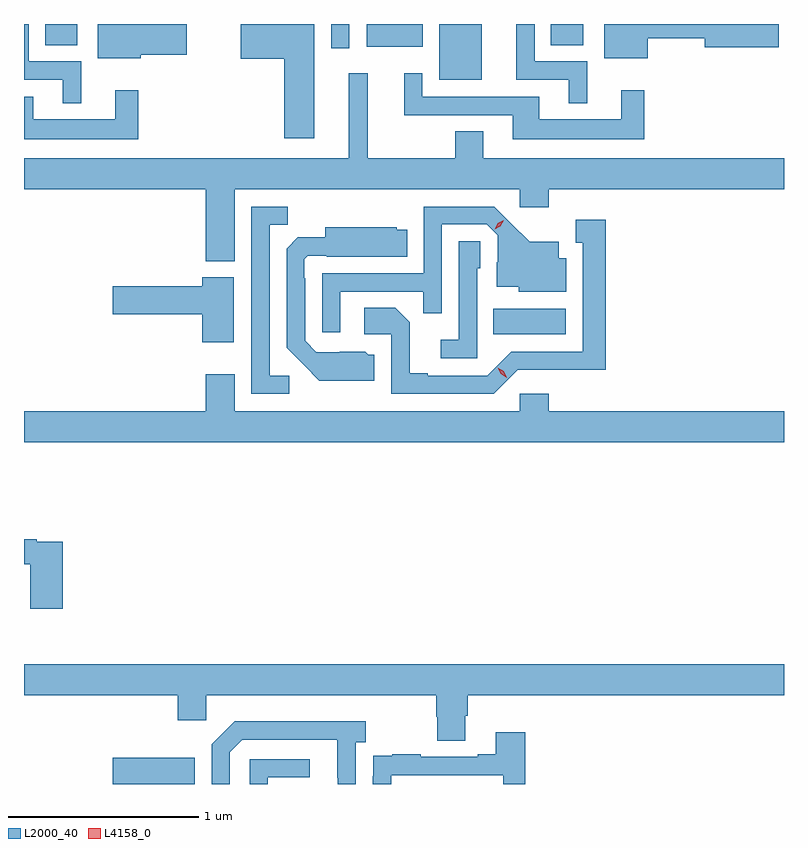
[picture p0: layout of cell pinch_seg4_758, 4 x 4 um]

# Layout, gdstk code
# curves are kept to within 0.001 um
import gdstk
lib = gdstk.Library(unit=1e-6, precision=1e-09)
def R(c, l, rs):  # rectangles x0, y0, x1, y1
    for r in rs: c.add(gdstk.rectangle(r[:2], r[2:], *l))
def P(c, l, *ps):  # polygons
    for p in ps: c.add(gdstk.Polygon(p, *l))
L2000_40 = (2000, 40)
L4158_0 = (4158, 0)

pinch_seg4_758 = lib.new_cell('pinch_seg4_758')
R(pinch_seg4_758, L2000_40, [(782.274,812.338,782.704,812.475), (784.276,814.706,784.657,814.84), (783.992,816.044,784.216,816.338), (783.423,816.21,783.519,816.338), (783.611,816.218,783.904,816.338), (781.919,816.226,782.086,816.338), (784.579,816.226,784.75,816.338)])
P(pinch_seg4_758, L2000_40, [(784.771,816.141),(784.494,816.141),(784.494,816.338),(784.397,816.338),(784.397,816.045),(784.673,816.045),(784.673,815.921),(784.771,815.921)],
  [(782.421,816.176),(782.662,816.176),(782.662,816.338),(782.195,816.338),(782.195,816.158),(782.421,816.158)],
  [(785.089,816.262),(785.39,816.262),(785.39,816.215),(785.779,816.215),(785.779,816.338),(784.859,816.338),(784.859,816.158),(785.089,816.158)],
  [(782.107,816.141),(781.83,816.141),(781.83,816.338),(781.806,816.338),(781.806,816.045),(782.009,816.045),(782.009,815.921),(782.107,815.921)],
  [(783.334,816.338),(782.948,816.338),(782.948,816.155),(783.176,816.155),(783.176,815.736),(783.334,815.736)],
  [(782.914,815.468),(784.416,815.468),(784.416,815.373),(784.568,815.373),(784.568,815.468),(785.806,815.468),(785.806,815.632),(784.222,815.632),(784.222,815.774),(784.075,815.774),(784.075,815.632),(783.614,815.632),(783.614,816.079),(783.515,816.079),(783.515,815.632),(781.806,815.632),(781.806,815.468),(782.762,815.468),(782.762,815.09),(782.914,815.09)],
  [(785.071,815.989),(784.949,815.989),(784.949,815.836),(784.519,815.836),(784.519,815.955),(783.903,815.955),(783.903,816.079),(783.806,816.079),(783.806,815.859),(784.379,815.859),(784.379,815.732),(785.071,815.732)],
  [(782.407,815.989),(782.285,815.989),(782.285,815.836),(781.855,815.836),(781.855,815.955),(781.806,815.955),(781.806,815.732),(782.407,815.732)],
  [(783.471,814.929),(783.907,814.929),(783.907,814.816),(784.005,814.816),(784.005,815.283),(784.242,815.283),(784.299,815.226),(784.299,815.084),(784.295,815.084),(784.295,814.955),(784.41,814.955),(784.41,814.928),(784.66,814.928),(784.66,815.104),(784.621,815.104),(784.621,815.191),(784.469,815.191),(784.282,815.376),(783.909,815.376),(783.909,815.025),(783.375,815.025),(783.375,814.716),(783.471,814.716)],
  [(783.202,814.488),(783.099,814.488),(783.099,815.281),(783.195,815.281),(783.195,815.376),(783.003,815.376),(783.003,814.392),(783.202,814.392)],
  [(784.404,814.518),(784.867,814.517),(784.867,815.308),(784.709,815.308),(784.709,815.187),(784.748,815.187),(784.748,814.614),(784.371,814.614),(784.245,814.488),(783.931,814.488),(783.931,814.501),(783.837,814.501),(783.837,814.768),(783.761,814.844),(783.597,814.844),(783.597,814.704),(783.738,814.704),(783.738,814.392),(784.278,814.392)],
  [(783.649,814.596),(783.618,814.596),(783.602,814.612),(783.345,814.611),(783.285,814.671),(783.285,815),(783.282,815),(783.282,815.1),(783.3,815.118),(783.4,815.118),(783.4,815.114),(783.824,815.114),(783.824,815.254),(783.768,815.254),(783.768,815.269),(783.392,815.269),(783.392,815.215),(783.248,815.215),(783.189,815.156),(783.189,814.634),(783.361,814.46),(783.649,814.46)],
  [(784.191,815.052),(784.206,815.052),(784.206,815.195),(784.095,815.195),(784.095,814.675),(783.999,814.675),(783.999,814.578),(784.191,814.578)],
  [(782.911,815.005),(782.744,815.005),(782.744,814.958),(782.274,814.958),(782.274,814.811),(782.744,814.811),(782.744,814.662),(782.911,814.662)],
  [(785.806,814.3),(784.568,814.3),(784.568,814.393),(784.416,814.393),(784.416,814.3),(782.914,814.3),(782.914,814.495),(782.762,814.495),(782.762,814.3),(781.806,814.3),(781.806,814.136),(785.806,814.136)],
  [(782.009,813.613),(781.874,813.613),(781.874,813.626),(781.806,813.626),(781.806,813.494),(781.838,813.494),(781.838,813.261),(782.009,813.261)],
  [(784.129,812.698),(784.142,812.698),(784.142,812.804),(785.806,812.804),(785.806,812.968),(781.806,812.968),(781.806,812.804),(782.615,812.804),(782.615,812.673),(782.766,812.673),(782.766,812.804),(783.977,812.804),(783.977,812.691),(783.982,812.691),(783.982,812.566),(784.129,812.566)],
  [(782.889,812.505),(782.955,812.571),(783.455,812.571),(783.456,812.338),(783.552,812.338),(783.552,812.558),(783.604,812.558),(783.604,812.668),(782.914,812.668),(782.793,812.547),(782.793,812.338),(782.889,812.338)],
  [(783.738,812.385),(784.329,812.385),(784.329,812.338),(784.445,812.338),(784.445,812.611),(784.289,812.611),(784.289,812.494),(784.193,812.494),(784.193,812.481),(783.893,812.481),(783.893,812.494),(783.745,812.494),(783.745,812.487),(783.643,812.487),(783.643,812.378),(783.642,812.378),(783.642,812.338),(783.738,812.338)],
  [(783.09,812.373),(783.31,812.373),(783.31,812.469),(782.994,812.469),(782.994,812.338),(783.09,812.338)])
P(pinch_seg4_758, L4158_0, [(784.348,814.477),(784.316,814.496),(784.299,814.528),(784.299,814.528),(784.299,814.528),(784.331,814.51),(784.348,814.477),(784.348,814.477)],
  [(784.283,815.258),(784.283,815.259),(784.3,815.289),(784.33,815.305),(784.33,815.305),(784.33,815.304),(784.313,815.274),(784.283,815.258)])

lib.write_gds('pinch_seg4_758.gds')
